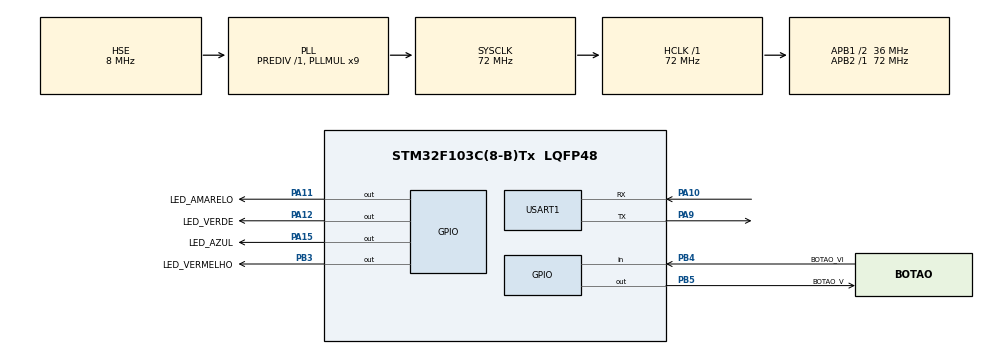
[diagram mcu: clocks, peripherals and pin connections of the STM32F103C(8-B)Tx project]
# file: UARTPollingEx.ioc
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Mcu.Family=STM32F1
Mcu.Name=STM32F103C(8-B)Tx
Mcu.Package=LQFP48
NVIC.PriorityGroup=NVIC_PRIORITYGROUP_4
PA10.Mode=Asynchronous
PA10.Signal=USART1_RX
PA11.GPIO_Label=LED_AMARELO
PA11.Signal=GPIO_Output
PA12.GPIO_Label=LED_VERDE
PA12.Signal=GPIO_Output
PA13.Mode=Serial_Wire
PA13.Signal=SYS_JTMS-SWDIO
PA14.Mode=Serial_Wire
PA14.Signal=SYS_JTCK-SWCLK
PA15.GPIO_Label=LED_AZUL
PA15.Signal=GPIO_Output
PA9.Mode=Asynchronous
PA9.Signal=USART1_TX
PB3.GPIO_Label=LED_VERMELHO
PB3.Signal=GPIO_Output
PB4.GPIO_Label=BOTAO_VI
PB4.Signal=GPIO_Input
PB5.GPIO_Label=BOTAO_V
PB5.Signal=GPIO_Output
PC14-OSC32_IN.Mode=LSE-External-Oscillator
PC14-OSC32_IN.Signal=RCC_OSC32_IN
PC15-OSC32_OUT.Mode=LSE-External-Oscillator
PC15-OSC32_OUT.Signal=RCC_OSC32_OUT
PD0-OSC_IN.Mode=HSE-External-Oscillator
PD0-OSC_IN.Signal=RCC_OSC_IN
PD1-OSC_OUT.Mode=HSE-External-Oscillator
PD1-OSC_OUT.Signal=RCC_OSC_OUT
ProjectManager.HeapSize=0x200
ProjectManager.StackSize=0x400
ProjectManager.TargetToolchain=STM32CubeIDE
RCC.AHBFreq_Value=72000000
RCC.APB1CLKDivider=RCC_HCLK_DIV2
RCC.APB1Freq_Value=36000000
RCC.APB1TimFreq_Value=72000000
RCC.APB2Freq_Value=72000000
RCC.APB2TimFreq_Value=72000000
RCC.HCLKFreq_Value=72000000
RCC.PLLMUL=RCC_PLL_MUL9
RCC.PLLSourceVirtual=RCC_PLLSOURCE_HSE
RCC.SYSCLKFreq_VALUE=72000000
RCC.SYSCLKSource=RCC_SYSCLKSOURCE_PLLCLK
RCC.USBFreq_Value=72000000
USART1.VirtualMode=VM_ASYNC
board=custom

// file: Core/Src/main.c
/* USER CODE BEGIN Header */
/**
  ******************************************************************************
  * @file           : main.c
  * @brief          : Main program body
  ******************************************************************************
  * @attention
  *
  * <h2><center>&copy; Copyright (c) 2021 STMicroelectronics.
  * All rights reserved.</center></h2>
  *
  * This software component is licensed by ST under BSD 3-Clause license,
  * the "License"; You may not use this file except in compliance with the
  * License. You may obtain a copy of the License at:
  *                        opensource.org/licenses/BSD-3-Clause
  *
  ******************************************************************************
  */
/* USER CODE END Header */
#include "main.h"

/* USER CODE BEGIN Includes */

#include <stdint.h> // uint8_t ....
#include <stdio.h>  // sprintf()
#include <string.h> // tratamento de string

/* USER CODE END Includes */

UART_HandleTypeDef huart1;

void SystemClock_Config(void);
static void MX_GPIO_Init(void);
static void MX_USART1_UART_Init(void);

int main(void)
{

  /* MCU Configuration--------------------------------------------------------*/

  /* Reset of all peripherals, Initializes the Flash interface and the Systick. */
  HAL_Init();

  /* Configure the system clock */
  SystemClock_Config();

  /* Initialize all configured peripherals */
  MX_GPIO_Init();
  MX_USART1_UART_Init();

  /* Infinite loop */
  /* USER CODE BEGIN WHILE */
  // String que limpa a tela do terminal e cursor na posicao 1x1
    const uint8_t CLRSCR[] = "\033[0H\033[0J";

    // Buffer para envio de dados
    uint8_t DadoTX[200] = {0};

    // Buffer para recebimento de dados
    uint8_t DadoRX[1] = {0};

    while (1){

  	  // Recebe pela serial leitura dos botões da protoboard
  	  HAL_UART_Receive(&huart1, DadoRX, 1, 100);

  	  // Caso tenha recebido um dado, inverte o estado dos LEDs.
  	  if(DadoRX[0] != 0){
  		  switch(DadoRX[0]){
  			  case '1': HAL_GPIO_TogglePin(LED_AZUL_GPIO_Port, LED_AZUL_Pin);        // Inverte valor do pino LED_AZUL
  			  	  	    DadoRX[0] = 0;                                               // Zera caractere recebido
  			  	  	  	break;
  			  case '2': HAL_GPIO_TogglePin(LED_VERDE_GPIO_Port, LED_VERDE_Pin);		 // Inverte valor do pino LED_VERDE
  						DadoRX[0] = 0; 												 // Zera caractere recebido
  						break;
  			  case '3': HAL_GPIO_TogglePin(LED_AMARELO_GPIO_Port, LED_AMARELO_Pin);	 // Inverte valor do pino LED_AMARELO
  					    DadoRX[0] = 0; 												 // Zera caractere recebido
  					    break;
  			  case '4': HAL_GPIO_TogglePin(LED_VERMELHO_GPIO_Port, LED_VERMELHO_Pin);// Inverte valor do pino LED_VERMELHO
  			  	  	  	DadoRX[0] = 0;  	  	  	  	  	  	  	  	  	  	  	 // Zera caractere recebido
  						break;
  		  }

  	  }

  	  // Envia pela serial o caractere para limpar a tela do terminal
  	  HAL_UART_Transmit(&huart1, (unsigned char *)CLRSCR, strlen((const char *)CLRSCR), 100);

  	  // Atualiza tela do terminal com os valores
  	  sprintf((char *)DadoTX,
  	  	    "Estados dos LEDS:\n\r1 - Led Azul    : %d \n\r2 - Led Verde   : %d \n\r3 - Led Amarelo : %d \n\r4 - Led Vermelho: %d\n\n\rEstados dos Botoes:\n\rBotao 5: %d\n\rBotao 6: %d\n\n\r",
  	  	     HAL_GPIO_ReadPin(LED_AZUL_GPIO_Port, LED_AZUL_Pin),HAL_GPIO_ReadPin(LED_VERDE_GPIO_Port, LED_VERDE_Pin),
  	  		 HAL_GPIO_ReadPin(LED_AMARELO_GPIO_Port, LED_AMARELO_Pin),HAL_GPIO_ReadPin(LED_VERMELHO_GPIO_Port, LED_VERMELHO_Pin),
  	  		 HAL_GPIO_ReadPin(BOTAO_V_GPIO_Port, BOTAO_V_Pin), HAL_GPIO_ReadPin(BOTAO_VI_GPIO_Port, BOTAO_VI_Pin));

  	  // Envia pela serial texto atualizado
  	  HAL_UART_Transmit(&huart1, DadoTX, strlen((const char *)DadoTX), 500);
    /* USER CODE END WHILE */

  }
}

void SystemClock_Config(void)
{
  RCC_OscInitTypeDef RCC_OscInitStruct = {0};
  RCC_ClkInitTypeDef RCC_ClkInitStruct = {0};

  /** Initializes the RCC Oscillators according to the specified parameters
  * in the RCC_OscInitTypeDef structure.
  */
  RCC_OscInitStruct.OscillatorType = RCC_OSCILLATORTYPE_HSE;
  RCC_OscInitStruct.HSEState = RCC_HSE_ON;
  RCC_OscInitStruct.HSEPredivValue = RCC_HSE_PREDIV_DIV1;
  RCC_OscInitStruct.HSIState = RCC_HSI_ON;
  RCC_OscInitStruct.PLL.PLLState = RCC_PLL_ON;
  RCC_OscInitStruct.PLL.PLLSource = RCC_PLLSOURCE_HSE;
  RCC_OscInitStruct.PLL.PLLMUL = RCC_PLL_MUL9;
  if (HAL_RCC_OscConfig(&RCC_OscInitStruct) != HAL_OK)
  {
    Error_Handler();
  }
  /** Initializes the CPU, AHB and APB buses clocks
  */
  RCC_ClkInitStruct.ClockType = RCC_CLOCKTYPE_HCLK|RCC_CLOCKTYPE_SYSCLK
                              |RCC_CLOCKTYPE_PCLK1|RCC_CLOCKTYPE_PCLK2;
  RCC_ClkInitStruct.SYSCLKSource = RCC_SYSCLKSOURCE_PLLCLK;
  RCC_ClkInitStruct.AHBCLKDivider = RCC_SYSCLK_DIV1;
  RCC_ClkInitStruct.APB1CLKDivider = RCC_HCLK_DIV2;
  RCC_ClkInitStruct.APB2CLKDivider = RCC_HCLK_DIV1;

  if (HAL_RCC_ClockConfig(&RCC_ClkInitStruct, FLASH_LATENCY_2) != HAL_OK)
  {
    Error_Handler();
  }
}

static void MX_USART1_UART_Init(void)
{

  huart1.Instance = USART1;
  huart1.Init.BaudRate = 115200;
  huart1.Init.WordLength = UART_WORDLENGTH_8B;
  huart1.Init.StopBits = UART_STOPBITS_1;
  huart1.Init.Parity = UART_PARITY_NONE;
  huart1.Init.Mode = UART_MODE_TX_RX;
  huart1.Init.HwFlowCtl = UART_HWCONTROL_NONE;
  huart1.Init.OverSampling = UART_OVERSAMPLING_16;
  if (HAL_UART_Init(&huart1) != HAL_OK)
  {
    Error_Handler();
  }

}

static void MX_GPIO_Init(void)
{
  GPIO_InitTypeDef GPIO_InitStruct = {0};

  /* GPIO Ports Clock Enable */
  __HAL_RCC_GPIOC_CLK_ENABLE();
  __HAL_RCC_GPIOD_CLK_ENABLE();
  __HAL_RCC_GPIOA_CLK_ENABLE();
  __HAL_RCC_GPIOB_CLK_ENABLE();

  /*Configure GPIO pin Output Level */
  HAL_GPIO_WritePin(GPIOA, LED_AMARELO_Pin|LED_VERDE_Pin|LED_AZUL_Pin, GPIO_PIN_RESET);

  /*Configure GPIO pin Output Level */
  HAL_GPIO_WritePin(GPIOB, LED_VERMELHO_Pin|BOTAO_V_Pin, GPIO_PIN_RESET);

  /*Configure GPIO pins : LED_AMARELO_Pin LED_VERDE_Pin LED_AZUL_Pin */
  GPIO_InitStruct.Pin = LED_AMARELO_Pin|LED_VERDE_Pin|LED_AZUL_Pin;
  GPIO_InitStruct.Mode = GPIO_MODE_OUTPUT_PP;
  GPIO_InitStruct.Pull = GPIO_NOPULL;
  GPIO_InitStruct.Speed = GPIO_SPEED_FREQ_LOW;
  HAL_GPIO_Init(GPIOA, &GPIO_InitStruct);

  /*Configure GPIO pins : LED_VERMELHO_Pin BOTAO_V_Pin */
  GPIO_InitStruct.Pin = LED_VERMELHO_Pin|BOTAO_V_Pin;
  GPIO_InitStruct.Mode = GPIO_MODE_OUTPUT_PP;
  GPIO_InitStruct.Pull = GPIO_NOPULL;
  GPIO_InitStruct.Speed = GPIO_SPEED_FREQ_LOW;
  HAL_GPIO_Init(GPIOB, &GPIO_InitStruct);

  /*Configure GPIO pin : BOTAO_VI_Pin */
  GPIO_InitStruct.Pin = BOTAO_VI_Pin;
  GPIO_InitStruct.Mode = GPIO_MODE_INPUT;
  GPIO_InitStruct.Pull = GPIO_NOPULL;
  HAL_GPIO_Init(BOTAO_VI_GPIO_Port, &GPIO_InitStruct);

}

void Error_Handler(void)
{
  __disable_irq();
  while (1)
  {
  }
}

/************************ (C) COPYRIGHT STMicroelectronics *****END OF FILE****/
